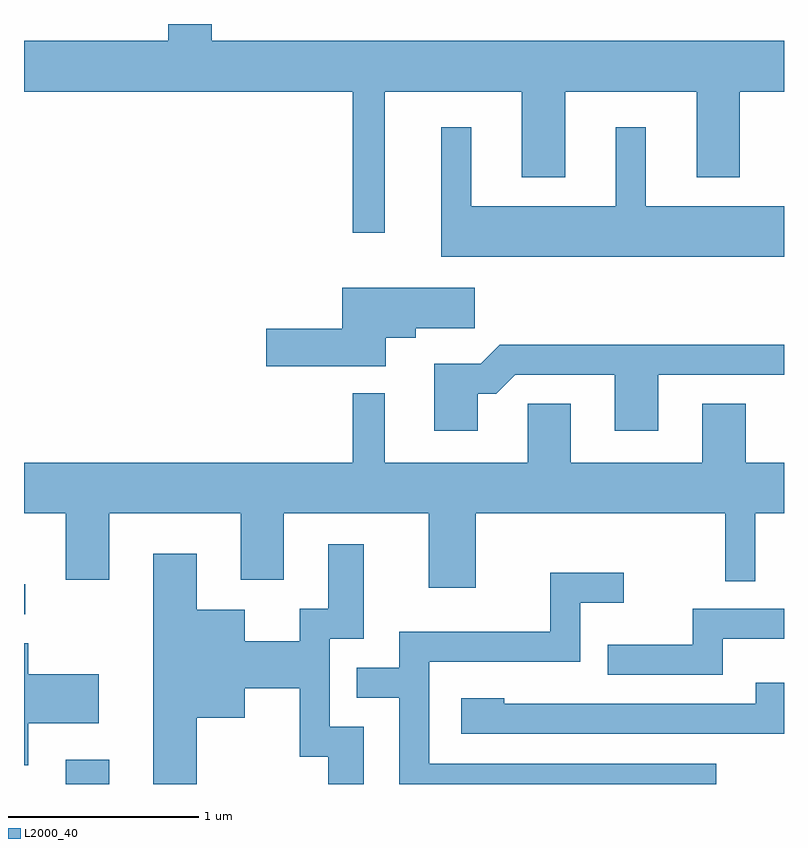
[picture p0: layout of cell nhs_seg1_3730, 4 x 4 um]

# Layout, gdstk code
import gdstk
lib = gdstk.Library(unit=1e-6, precision=1e-09)
def R(c, l, rs):  # rectangles x0, y0, x1, y1
    for r in rs: c.add(gdstk.rectangle(r[:2], r[2:], *l))
def P(c, l, *ps):  # polygons
    for p in ps: c.add(gdstk.Polygon(p, *l))
L2000_40 = (2000, 40)

nhs_seg1_3730 = lib.new_cell('nhs_seg1_3730')
R(nhs_seg1_3730, L2000_40, [(297.831,893.712,298.059,893.839), (297.611,894.606,297.618,894.764)])
P(nhs_seg1_3730, L2000_40, [(299.509,897.356),(300.231,897.356),(300.231,896.906),(300.459,896.906),(300.459,897.356),(301.151,897.356),(301.151,896.906),(301.379,896.906),(301.379,897.356),(301.611,897.356),(301.611,897.624),(298.599,897.624),(298.599,897.712),(298.371,897.712),(298.371,897.624),(297.611,897.624),(297.611,897.356),(299.341,897.356),(299.341,896.613),(299.509,896.613)],
  [(301.611,896.754),(300.884,896.754),(300.884,897.168),(300.726,897.168),(300.726,896.754),(299.964,896.754),(299.964,897.168),(299.806,897.168),(299.806,896.486),(301.611,896.486)],
  [(299.514,896.061),(299.674,896.061),(299.674,896.111),(299.984,896.111),(299.984,896.324),(299.286,896.324),(299.286,896.109),(298.886,896.109),(298.886,895.911),(299.514,895.911)],
  [(299.999,895.766),(300.097,895.766),(300.197,895.866),(300.721,895.866),(300.721,895.571),(300.949,895.571),(300.949,895.866),(301.611,895.866),(301.611,896.024),(300.114,896.024),(300.014,895.924),(299.771,895.924),(299.771,895.571),(299.999,895.571)],
  [(301.301,894.778),(301.459,894.778),(301.459,895.136),(301.611,895.136),(301.611,895.404),(301.409,895.404),(301.409,895.714),(301.181,895.714),(301.181,895.404),(300.489,895.404),(300.489,895.714),(300.261,895.714),(300.261,895.404),(299.509,895.404),(299.509,895.768),(299.341,895.768),(299.341,895.404),(297.611,895.404),(297.611,895.136),(297.831,895.136),(297.831,894.786),(298.059,894.786),(298.059,895.136),(298.751,895.136),(298.751,894.786),(298.979,894.786),(298.979,895.136),(299.741,895.136),(299.741,894.746),(299.989,894.746),(299.989,895.136),(301.301,895.136)],
  [(298.519,894.061),(298.774,894.061),(298.774,894.216),(299.061,894.216),(299.061,893.856),(299.211,893.856),(299.211,893.712),(299.399,893.712),(299.399,894.014),(299.219,894.014),(299.219,894.476),(299.399,894.476),(299.399,894.974),(299.211,894.974),(299.211,894.634),(299.061,894.634),(299.061,894.464),(298.774,894.464),(298.774,894.629),(298.519,894.629),(298.519,894.924),(298.291,894.924),(298.291,893.712),(298.519,893.712)],
  [(301.254,893.819),(299.744,893.819),(299.744,894.356),(300.539,894.356),(300.539,894.666),(300.768,894.666),(300.768,894.824),(300.381,894.824),(300.381,894.514),(299.586,894.514),(299.586,894.324),(299.363,894.324),(299.363,894.166),(299.586,894.166),(299.586,893.712),(301.254,893.712)],
  [(301.289,894.476),(301.611,894.476),(301.611,894.634),(301.131,894.634),(301.131,894.444),(300.683,894.444),(300.683,894.286),(301.289,894.286)],
  [(297.634,894.031),(298.004,894.031),(298.004,894.289),(297.634,894.289),(297.634,894.454),(297.611,894.454),(297.611,893.811),(297.634,893.811)],
  [(301.611,894.244),(301.461,894.244),(301.461,894.134),(300.139,894.134),(300.139,894.164),(299.911,894.164),(299.911,893.976),(301.611,893.976)])

lib.write_gds('nhs_seg1_3730.gds')
